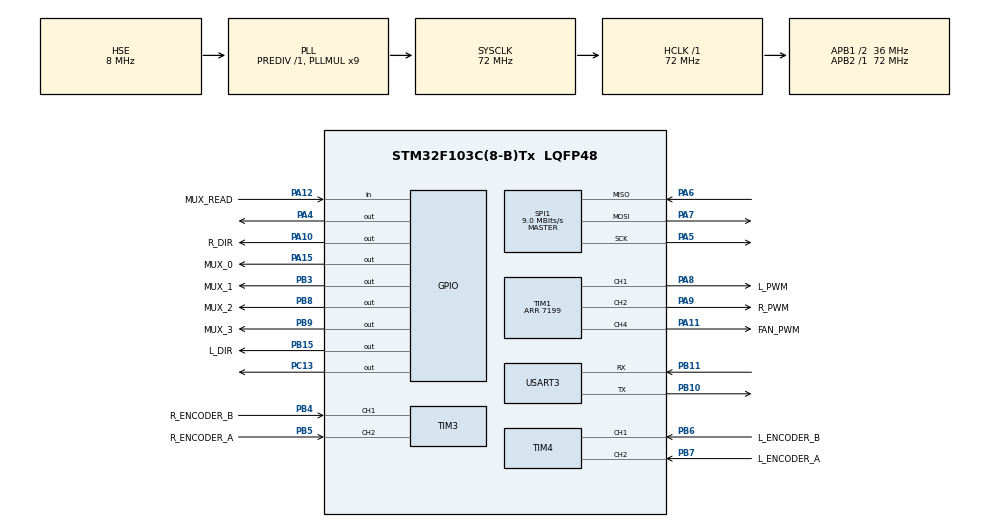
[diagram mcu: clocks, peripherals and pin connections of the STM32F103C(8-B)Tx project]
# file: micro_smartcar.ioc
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Dma.Request0=SPI1_RX
Dma.Request1=SPI1_TX
Dma.SPI1_RX.0.Direction=DMA_PERIPH_TO_MEMORY
Dma.SPI1_RX.0.Instance=DMA1_Channel2
Dma.SPI1_RX.0.MemDataAlignment=DMA_MDATAALIGN_BYTE
Dma.SPI1_RX.0.MemInc=DMA_MINC_ENABLE
Dma.SPI1_RX.0.Mode=DMA_NORMAL
Dma.SPI1_RX.0.PeriphDataAlignment=DMA_PDATAALIGN_BYTE
Dma.SPI1_RX.0.PeriphInc=DMA_PINC_DISABLE
Dma.SPI1_RX.0.Priority=DMA_PRIORITY_LOW
Dma.SPI1_TX.1.Direction=DMA_MEMORY_TO_PERIPH
Dma.SPI1_TX.1.Instance=DMA1_Channel3
Dma.SPI1_TX.1.MemDataAlignment=DMA_MDATAALIGN_BYTE
Dma.SPI1_TX.1.MemInc=DMA_MINC_ENABLE
Dma.SPI1_TX.1.Mode=DMA_NORMAL
Dma.SPI1_TX.1.PeriphDataAlignment=DMA_PDATAALIGN_BYTE
Dma.SPI1_TX.1.PeriphInc=DMA_PINC_DISABLE
Dma.SPI1_TX.1.Priority=DMA_PRIORITY_LOW
Mcu.Family=STM32F1
Mcu.Name=STM32F103C(8-B)Tx
Mcu.Package=LQFP48
NVIC.DMA1_Channel2_IRQn=true\:0\:0\:false\:false\:true\:false\:true\:true
NVIC.DMA1_Channel3_IRQn=true\:0\:0\:false\:false\:true\:false\:true\:true
NVIC.PriorityGroup=NVIC_PRIORITYGROUP_4
NVIC.RCC_IRQn=true\:0\:0\:false\:false\:true\:true\:false\:true
NVIC.SPI1_IRQn=true\:0\:0\:false\:false\:true\:true\:true\:true
NVIC.TIM2_IRQn=true\:1\:0\:true\:false\:true\:true\:true\:true
NVIC.TIM3_IRQn=true\:0\:0\:false\:false\:true\:true\:true\:true
NVIC.TIM4_IRQn=true\:0\:0\:false\:false\:true\:true\:true\:true
NVIC.USART3_IRQn=true\:0\:0\:false\:false\:true\:true\:true\:true
PA10.GPIO_Label=R_DIR
PA10.Signal=GPIO_Output
PA11.GPIO_Label=FAN_PWM
PA11.Signal=S_TIM1_CH4
PA12.GPIO_Label=MUX_READ
PA12.Signal=GPIO_Input
PA13.Mode=Serial_Wire
PA13.Signal=SYS_JTMS-SWDIO
PA14.Mode=Serial_Wire
PA14.Signal=SYS_JTCK-SWCLK
PA15.GPIO_Label=MUX_0
PA15.GPIO_Speed=GPIO_SPEED_FREQ_MEDIUM
PA15.Signal=GPIO_Output
PA4.GPIO_PuPd=GPIO_NOPULL
PA4.GPIO_Speed=GPIO_SPEED_FREQ_HIGH
PA4.Signal=GPIO_Output
PA5.Mode=Full_Duplex_Master
PA5.Signal=SPI1_SCK
PA6.Mode=Full_Duplex_Master
PA6.Signal=SPI1_MISO
PA7.Mode=Full_Duplex_Master
PA7.Signal=SPI1_MOSI
PA8.GPIO_Label=L_PWM
PA8.Signal=S_TIM1_CH1
PA9.GPIO_Label=R_PWM
PA9.Signal=S_TIM1_CH2
PB10.Mode=Asynchronous
PB10.Signal=USART3_TX
PB11.Mode=Asynchronous
PB11.Signal=USART3_RX
PB15.GPIO_Label=L_DIR
PB15.Signal=GPIO_Output
PB3.GPIO_Label=MUX_1
PB3.GPIO_Speed=GPIO_SPEED_FREQ_MEDIUM
PB3.Signal=GPIO_Output
PB4.GPIO_Label=R_ENCODER_B
PB4.Signal=S_TIM3_CH1
PB5.GPIO_Label=R_ENCODER_A
PB5.Signal=S_TIM3_CH2
PB6.GPIO_Label=L_ENCODER_B
PB6.Signal=S_TIM4_CH1
PB7.GPIO_Label=L_ENCODER_A
PB7.Signal=S_TIM4_CH2
PB8.GPIO_Label=MUX_2
PB8.GPIO_Speed=GPIO_SPEED_FREQ_MEDIUM
PB8.Signal=GPIO_Output
PB9.GPIO_Label=MUX_3
PB9.GPIO_Speed=GPIO_SPEED_FREQ_MEDIUM
PB9.Signal=GPIO_Output
PC13-TAMPER-RTC.GPIO_ModeDefaultOutputPP=GPIO_MODE_OUTPUT_OD
PC13-TAMPER-RTC.GPIO_PuPd=GPIO_NOPULL
PC13-TAMPER-RTC.Signal=GPIO_Output
PD0-OSC_IN.Mode=HSE-External-Oscillator
PD0-OSC_IN.Signal=RCC_OSC_IN
PD1-OSC_OUT.Mode=HSE-External-Oscillator
PD1-OSC_OUT.Signal=RCC_OSC_OUT
ProjectManager.HeapSize=0x200
ProjectManager.StackSize=0x400
ProjectManager.TargetToolchain=MDK-ARM V5.32
RCC.AHBFreq_Value=72000000
RCC.APB1CLKDivider=RCC_HCLK_DIV2
RCC.APB1Freq_Value=36000000
RCC.APB1TimFreq_Value=72000000
RCC.APB2Freq_Value=72000000
RCC.APB2TimFreq_Value=72000000
RCC.HCLKFreq_Value=72000000
RCC.PLLMUL=RCC_PLL_MUL9
RCC.PLLSourceVirtual=RCC_PLLSOURCE_HSE
RCC.SYSCLKFreq_VALUE=72000000
RCC.SYSCLKSource=RCC_SYSCLKSOURCE_PLLCLK
RCC.USBFreq_Value=72000000
SH.S_TIM1_CH1.0=TIM1_CH1,PWM Generation1 CH1
SH.S_TIM1_CH2.0=TIM1_CH2,PWM Generation2 CH2
SH.S_TIM1_CH4.0=TIM1_CH4,PWM Generation4 CH4
SH.S_TIM3_CH1.0=TIM3_CH1,Encoder_Interface
SH.S_TIM3_CH2.0=TIM3_CH2,Encoder_Interface
SH.S_TIM4_CH1.0=TIM4_CH1,Encoder_Interface
SH.S_TIM4_CH2.0=TIM4_CH2,Encoder_Interface
SPI1.BaudRatePrescaler=SPI_BAUDRATEPRESCALER_8
SPI1.CalculateBaudRate=9.0 MBits/s
SPI1.Direction=SPI_DIRECTION_2LINES
SPI1.Mode=SPI_MODE_MASTER
SPI1.VirtualType=VM_MASTER
TIM1.Channel-PWM\ Generation1\ CH1=TIM_CHANNEL_1
TIM1.Channel-PWM\ Generation2\ CH2=TIM_CHANNEL_2
TIM1.Channel-PWM\ Generation4\ CH4=TIM_CHANNEL_4
TIM1.Period=7199
TIM2.Period=4999
TIM2.Prescaler=71
TIM3.EncoderMode=TIM_ENCODERMODE_TI12
TIM4.EncoderMode=TIM_ENCODERMODE_TI12
USART3.VirtualMode=VM_ASYNC
VP_TIM1_VS_ClockSourceINT.Mode=Internal
VP_TIM2_VS_ClockSourceINT.Mode=Internal
board=custom

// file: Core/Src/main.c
/* USER CODE BEGIN Header */
/**
  ******************************************************************************
  * @file           : main.c
  * @brief          : Main program body
  ******************************************************************************
  * @attention
  *
  * Copyright (c) 2025 STMicroelectronics.
  * All rights reserved.
  *
  * This software is licensed under terms that can be found in the LICENSE file
  * in the root directory of this software component.
  * If no LICENSE file comes with this software, it is provided AS-IS.
  *
  ******************************************************************************
  */
/* USER CODE END Header */
#include "main.h"

/* USER CODE BEGIN Includes */
#include "dodo_BMI270.h" //螺仪驱动
#include "multiplexer.h"//多路复用器驱动，用于读取光电管
#include "stdio.h"
#include "motor_control.h"
#include "my_math.h"
/* USER CODE END Includes */

/* USER CODE BEGIN PTD */
#define Control_Frequency 1000
#define Print_Frequency	1
/* USER CODE END PTD */

SPI_HandleTypeDef hspi1;
DMA_HandleTypeDef hdma_spi1_rx;
DMA_HandleTypeDef hdma_spi1_tx;

TIM_HandleTypeDef htim1;
TIM_HandleTypeDef htim2;
TIM_HandleTypeDef htim3;
TIM_HandleTypeDef htim4;

UART_HandleTypeDef huart3;

/* USER CODE BEGIN PV */
uint16_t mux_value;

float gyro_z;
float left_encoder_speed;
float right_encoder_speed;
uint8_t control_flag = 0;
uint8_t print_flag = 0;
/* USER CODE END PV */

void SystemClock_Config(void);
static void MX_GPIO_Init(void);
static void MX_DMA_Init(void);
static void MX_SPI1_Init(void);
static void MX_TIM1_Init(void);
static void MX_TIM2_Init(void);
static void MX_TIM3_Init(void);
static void MX_USART3_UART_Init(void);
static void MX_TIM4_Init(void);

/* USER CODE BEGIN 0 */

int fputc(int ch, FILE *f){
  HAL_UART_Transmit(&huart3, (uint8_t *)&ch, 1, 0xffff);
  return ch;
}

// @brief 更新状态数据
void UpdataData(void){

	MUX_get_value(&mux_value);
	// 读取陿螺仪数据
	dodo_BMI270_get_data();
	gyro_z = BMI270_gyro_transition(BMI270_gyro_z);
	// 读取编码器鿟度
	left_encoder_speed = (int16_t)__HAL_TIM_GET_COUNTER(&htim4) * 5;
	__HAL_TIM_SET_COUNTER(&htim4, 0);
	right_encoder_speed = -1 * (int16_t)__HAL_TIM_GET_COUNTER(&htim3) * 5;
	__HAL_TIM_SET_COUNTER(&htim3, 0);
}

// @brief 测试函数······计算执行一次循环的时间
void CeShi(void)
{
	clock(CLOCK_START);
	UpdataData();
	parallel_pid_control(mux_value, gyro_z, left_encoder_speed, right_encoder_speed);
	clock(CLOCK_STOP);
}

// @brief 控制时钟中断
void HAL_TIM_PeriodElapsedCallback(TIM_HandleTypeDef *htim){
	static uint16_t times = 0;
	if (htim == &htim2) {
		times++;
		control_flag = 1;
		if(times >= Control_Frequency / Print_Frequency){
			times = 0;
			print_flag = 1;
		}
	}
}
/* USER CODE END 0 */

int main(void)
{

  /* MCU Configuration--------------------------------------------------------*/

  /* Reset of all peripherals, Initializes the Flash interface and the Systick. */
  HAL_Init();

  /* Configure the system clock */
  SystemClock_Config();

  /* Initialize all configured peripherals */
  MX_GPIO_Init();
  MX_DMA_Init();
  MX_SPI1_Init();
  MX_TIM1_Init();
  MX_TIM2_Init();
  MX_TIM3_Init();
  MX_USART3_UART_Init();
  MX_TIM4_Init();
  /* USER CODE BEGIN 2 */
	dodo_BMI270_init();//初始化陀螺仪
	HAL_TIM_Encoder_Start(&htim3, TIM_CHANNEL_ALL);
	HAL_TIM_Encoder_Start(&htim4, TIM_CHANNEL_ALL);
	HAL_TIM_PWM_Start(&htim1, TIM_CHANNEL_1);
	HAL_TIM_PWM_Start(&htim1, TIM_CHANNEL_2);
  /* USER CODE END 2 */
  /* Infinite loop */
  /* USER CODE BEGIN WHILE */
    HAL_Delay(500);
	TIM2->ARR = 1000000 / Control_Frequency - 1;
	  motor_Init();
	  clock_Init();
//	HAL_TIM_Base_Start_IT(&htim2);
    CeShi();
  while (1)
  {
    /* USER CODE END WHILE */

		if(control_flag){
			control_flag = 0;
			UpdataData();
			parallel_pid_control(mux_value, gyro_z, left_encoder_speed, right_encoder_speed);
		}

		if(print_flag){
			print_flag = 0;
			if(flag==1){
			//	printf("a");
			}
		}
  }
}

void SystemClock_Config(void)
{
  RCC_OscInitTypeDef RCC_OscInitStruct = {0};
  RCC_ClkInitTypeDef RCC_ClkInitStruct = {0};

  /** Initializes the RCC Oscillators according to the specified parameters
  * in the RCC_OscInitTypeDef structure.
  */
  RCC_OscInitStruct.OscillatorType = RCC_OSCILLATORTYPE_HSE;
  RCC_OscInitStruct.HSEState = RCC_HSE_ON;
  RCC_OscInitStruct.HSEPredivValue = RCC_HSE_PREDIV_DIV1;
  RCC_OscInitStruct.HSIState = RCC_HSI_ON;
  RCC_OscInitStruct.PLL.PLLState = RCC_PLL_ON;
  RCC_OscInitStruct.PLL.PLLSource = RCC_PLLSOURCE_HSE;
  RCC_OscInitStruct.PLL.PLLMUL = RCC_PLL_MUL9;
  if (HAL_RCC_OscConfig(&RCC_OscInitStruct) != HAL_OK)
  {
    Error_Handler();
  }

  /** Initializes the CPU, AHB and APB buses clocks
  */
  RCC_ClkInitStruct.ClockType = RCC_CLOCKTYPE_HCLK|RCC_CLOCKTYPE_SYSCLK
                              |RCC_CLOCKTYPE_PCLK1|RCC_CLOCKTYPE_PCLK2;
  RCC_ClkInitStruct.SYSCLKSource = RCC_SYSCLKSOURCE_PLLCLK;
  RCC_ClkInitStruct.AHBCLKDivider = RCC_SYSCLK_DIV1;
  RCC_ClkInitStruct.APB1CLKDivider = RCC_HCLK_DIV2;
  RCC_ClkInitStruct.APB2CLKDivider = RCC_HCLK_DIV1;

  if (HAL_RCC_ClockConfig(&RCC_ClkInitStruct, FLASH_LATENCY_2) != HAL_OK)
  {
    Error_Handler();
  }
}

static void MX_SPI1_Init(void)
{

  /* SPI1 parameter configuration*/
  hspi1.Instance = SPI1;
  hspi1.Init.Mode = SPI_MODE_MASTER;
  hspi1.Init.Direction = SPI_DIRECTION_2LINES;
  hspi1.Init.DataSize = SPI_DATASIZE_8BIT;
  hspi1.Init.CLKPolarity = SPI_POLARITY_LOW;
  hspi1.Init.CLKPhase = SPI_PHASE_1EDGE;
  hspi1.Init.NSS = SPI_NSS_SOFT;
  hspi1.Init.BaudRatePrescaler = SPI_BAUDRATEPRESCALER_8;
  hspi1.Init.FirstBit = SPI_FIRSTBIT_MSB;
  hspi1.Init.TIMode = SPI_TIMODE_DISABLE;
  hspi1.Init.CRCCalculation = SPI_CRCCALCULATION_DISABLE;
  hspi1.Init.CRCPolynomial = 10;
  if (HAL_SPI_Init(&hspi1) != HAL_OK)
  {
    Error_Handler();
  }

}

static void MX_TIM1_Init(void)
{

  TIM_ClockConfigTypeDef sClockSourceConfig = {0};
  TIM_MasterConfigTypeDef sMasterConfig = {0};
  TIM_OC_InitTypeDef sConfigOC = {0};
  TIM_BreakDeadTimeConfigTypeDef sBreakDeadTimeConfig = {0};

  htim1.Instance = TIM1;
  htim1.Init.Prescaler = 0;
  htim1.Init.CounterMode = TIM_COUNTERMODE_UP;
  htim1.Init.Period = 7199;
  htim1.Init.ClockDivision = TIM_CLOCKDIVISION_DIV1;
  htim1.Init.RepetitionCounter = 0;
  htim1.Init.AutoReloadPreload = TIM_AUTORELOAD_PRELOAD_DISABLE;
  if (HAL_TIM_Base_Init(&htim1) != HAL_OK)
  {
    Error_Handler();
  }
  sClockSourceConfig.ClockSource = TIM_CLOCKSOURCE_INTERNAL;
  if (HAL_TIM_ConfigClockSource(&htim1, &sClockSourceConfig) != HAL_OK)
  {
    Error_Handler();
  }
  if (HAL_TIM_PWM_Init(&htim1) != HAL_OK)
  {
    Error_Handler();
  }
  sMasterConfig.MasterOutputTrigger = TIM_TRGO_RESET;
  sMasterConfig.MasterSlaveMode = TIM_MASTERSLAVEMODE_DISABLE;
  if (HAL_TIMEx_MasterConfigSynchronization(&htim1, &sMasterConfig) != HAL_OK)
  {
    Error_Handler();
  }
  sConfigOC.OCMode = TIM_OCMODE_PWM1;
  sConfigOC.Pulse = 0;
  sConfigOC.OCPolarity = TIM_OCPOLARITY_HIGH;
  sConfigOC.OCNPolarity = TIM_OCNPOLARITY_HIGH;
  sConfigOC.OCFastMode = TIM_OCFAST_DISABLE;
  sConfigOC.OCIdleState = TIM_OCIDLESTATE_RESET;
  sConfigOC.OCNIdleState = TIM_OCNIDLESTATE_RESET;
  if (HAL_TIM_PWM_ConfigChannel(&htim1, &sConfigOC, TIM_CHANNEL_1) != HAL_OK)
  {
    Error_Handler();
  }
  if (HAL_TIM_PWM_ConfigChannel(&htim1, &sConfigOC, TIM_CHANNEL_2) != HAL_OK)
  {
    Error_Handler();
  }
  if (HAL_TIM_PWM_ConfigChannel(&htim1, &sConfigOC, TIM_CHANNEL_4) != HAL_OK)
  {
    Error_Handler();
  }
  sBreakDeadTimeConfig.OffStateRunMode = TIM_OSSR_DISABLE;
  sBreakDeadTimeConfig.OffStateIDLEMode = TIM_OSSI_DISABLE;
  sBreakDeadTimeConfig.LockLevel = TIM_LOCKLEVEL_OFF;
  sBreakDeadTimeConfig.DeadTime = 0;
  sBreakDeadTimeConfig.BreakState = TIM_BREAK_DISABLE;
  sBreakDeadTimeConfig.BreakPolarity = TIM_BREAKPOLARITY_HIGH;
  sBreakDeadTimeConfig.AutomaticOutput = TIM_AUTOMATICOUTPUT_DISABLE;
  if (HAL_TIMEx_ConfigBreakDeadTime(&htim1, &sBreakDeadTimeConfig) != HAL_OK)
  {
    Error_Handler();
  }
  HAL_TIM_MspPostInit(&htim1);

}

static void MX_TIM2_Init(void)
{

  TIM_ClockConfigTypeDef sClockSourceConfig = {0};
  TIM_MasterConfigTypeDef sMasterConfig = {0};

  htim2.Instance = TIM2;
  htim2.Init.Prescaler = 71;
  htim2.Init.CounterMode = TIM_COUNTERMODE_UP;
  htim2.Init.Period = 4999;
  htim2.Init.ClockDivision = TIM_CLOCKDIVISION_DIV1;
  htim2.Init.AutoReloadPreload = TIM_AUTORELOAD_PRELOAD_DISABLE;
  if (HAL_TIM_Base_Init(&htim2) != HAL_OK)
  {
    Error_Handler();
  }
  sClockSourceConfig.ClockSource = TIM_CLOCKSOURCE_INTERNAL;
  if (HAL_TIM_ConfigClockSource(&htim2, &sClockSourceConfig) != HAL_OK)
  {
    Error_Handler();
  }
  sMasterConfig.MasterOutputTrigger = TIM_TRGO_RESET;
  sMasterConfig.MasterSlaveMode = TIM_MASTERSLAVEMODE_DISABLE;
  if (HAL_TIMEx_MasterConfigSynchronization(&htim2, &sMasterConfig) != HAL_OK)
  {
    Error_Handler();
  }

}

static void MX_TIM3_Init(void)
{

  TIM_Encoder_InitTypeDef sConfig = {0};
  TIM_MasterConfigTypeDef sMasterConfig = {0};

  htim3.Instance = TIM3;
  htim3.Init.Prescaler = 0;
  htim3.Init.CounterMode = TIM_COUNTERMODE_UP;
  htim3.Init.Period = 65535;
  htim3.Init.ClockDivision = TIM_CLOCKDIVISION_DIV1;
  htim3.Init.AutoReloadPreload = TIM_AUTORELOAD_PRELOAD_DISABLE;
  sConfig.EncoderMode = TIM_ENCODERMODE_TI12;
  sConfig.IC1Polarity = TIM_ICPOLARITY_RISING;
  sConfig.IC1Selection = TIM_ICSELECTION_DIRECTTI;
  sConfig.IC1Prescaler = TIM_ICPSC_DIV1;
  sConfig.IC1Filter = 0;
  sConfig.IC2Polarity = TIM_ICPOLARITY_RISING;
  sConfig.IC2Selection = TIM_ICSELECTION_DIRECTTI;
  sConfig.IC2Prescaler = TIM_ICPSC_DIV1;
  sConfig.IC2Filter = 0;
  if (HAL_TIM_Encoder_Init(&htim3, &sConfig) != HAL_OK)
  {
    Error_Handler();
  }
  sMasterConfig.MasterOutputTrigger = TIM_TRGO_RESET;
  sMasterConfig.MasterSlaveMode = TIM_MASTERSLAVEMODE_DISABLE;
  if (HAL_TIMEx_MasterConfigSynchronization(&htim3, &sMasterConfig) != HAL_OK)
  {
    Error_Handler();
  }

}

static void MX_TIM4_Init(void)
{

  TIM_Encoder_InitTypeDef sConfig = {0};
  TIM_MasterConfigTypeDef sMasterConfig = {0};

  htim4.Instance = TIM4;
  htim4.Init.Prescaler = 0;
  htim4.Init.CounterMode = TIM_COUNTERMODE_UP;
  htim4.Init.Period = 65535;
  htim4.Init.ClockDivision = TIM_CLOCKDIVISION_DIV1;
  htim4.Init.AutoReloadPreload = TIM_AUTORELOAD_PRELOAD_DISABLE;
  sConfig.EncoderMode = TIM_ENCODERMODE_TI12;
  sConfig.IC1Polarity = TIM_ICPOLARITY_RISING;
  sConfig.IC1Selection = TIM_ICSELECTION_DIRECTTI;
  sConfig.IC1Prescaler = TIM_ICPSC_DIV1;
  sConfig.IC1Filter = 0;
  sConfig.IC2Polarity = TIM_ICPOLARITY_RISING;
  sConfig.IC2Selection = TIM_ICSELECTION_DIRECTTI;
  sConfig.IC2Prescaler = TIM_ICPSC_DIV1;
  sConfig.IC2Filter = 0;
  if (HAL_TIM_Encoder_Init(&htim4, &sConfig) != HAL_OK)
  {
    Error_Handler();
  }
  sMasterConfig.MasterOutputTrigger = TIM_TRGO_RESET;
  sMasterConfig.MasterSlaveMode = TIM_MASTERSLAVEMODE_DISABLE;
  if (HAL_TIMEx_MasterConfigSynchronization(&htim4, &sMasterConfig) != HAL_OK)
  {
    Error_Handler();
  }

}

static void MX_USART3_UART_Init(void)
{

  huart3.Instance = USART3;
  huart3.Init.BaudRate = 115200;
  huart3.Init.WordLength = UART_WORDLENGTH_8B;
  huart3.Init.StopBits = UART_STOPBITS_1;
  huart3.Init.Parity = UART_PARITY_NONE;
  huart3.Init.Mode = UART_MODE_TX_RX;
  huart3.Init.HwFlowCtl = UART_HWCONTROL_NONE;
  huart3.Init.OverSampling = UART_OVERSAMPLING_16;
  if (HAL_UART_Init(&huart3) != HAL_OK)
  {
    Error_Handler();
  }

}

static void MX_DMA_Init(void)
{

  /* DMA controller clock enable */
  __HAL_RCC_DMA1_CLK_ENABLE();

  /* DMA interrupt init */
  /* DMA1_Channel2_IRQn interrupt configuration */
  HAL_NVIC_SetPriority(DMA1_Channel2_IRQn, 0, 0);
  HAL_NVIC_EnableIRQ(DMA1_Channel2_IRQn);
  /* DMA1_Channel3_IRQn interrupt configuration */
  HAL_NVIC_SetPriority(DMA1_Channel3_IRQn, 0, 0);
  HAL_NVIC_EnableIRQ(DMA1_Channel3_IRQn);

}

static void MX_GPIO_Init(void)
{
  GPIO_InitTypeDef GPIO_InitStruct = {0};

  /* GPIO Ports Clock Enable */
  __HAL_RCC_GPIOC_CLK_ENABLE();
  __HAL_RCC_GPIOD_CLK_ENABLE();
  __HAL_RCC_GPIOA_CLK_ENABLE();
  __HAL_RCC_GPIOB_CLK_ENABLE();

  /*Configure GPIO pin Output Level */
  HAL_GPIO_WritePin(GPIOC, GPIO_PIN_13, GPIO_PIN_RESET);

  /*Configure GPIO pin Output Level */
  HAL_GPIO_WritePin(GPIOA, GPIO_PIN_4|R_DIR_Pin|MUX_0_Pin, GPIO_PIN_RESET);

  /*Configure GPIO pin Output Level */
  HAL_GPIO_WritePin(GPIOB, L_DIR_Pin|MUX_1_Pin|MUX_2_Pin|MUX_3_Pin, GPIO_PIN_RESET);

  /*Configure GPIO pin : PC13 */
  GPIO_InitStruct.Pin = GPIO_PIN_13;
  GPIO_InitStruct.Mode = GPIO_MODE_OUTPUT_OD;
  GPIO_InitStruct.Pull = GPIO_NOPULL;
  GPIO_InitStruct.Speed = GPIO_SPEED_FREQ_LOW;
  HAL_GPIO_Init(GPIOC, &GPIO_InitStruct);

  /*Configure GPIO pin : PA4 */
  GPIO_InitStruct.Pin = GPIO_PIN_4;
  GPIO_InitStruct.Mode = GPIO_MODE_OUTPUT_PP;
  GPIO_InitStruct.Pull = GPIO_NOPULL;
  GPIO_InitStruct.Speed = GPIO_SPEED_FREQ_HIGH;
  HAL_GPIO_Init(GPIOA, &GPIO_InitStruct);

  /*Configure GPIO pin : L_DIR_Pin */
  GPIO_InitStruct.Pin = L_DIR_Pin;
  GPIO_InitStruct.Mode = GPIO_MODE_OUTPUT_PP;
  GPIO_InitStruct.Pull = GPIO_NOPULL;
  GPIO_InitStruct.Speed = GPIO_SPEED_FREQ_LOW;
  HAL_GPIO_Init(L_DIR_GPIO_Port, &GPIO_InitStruct);

  /*Configure GPIO pin : R_DIR_Pin */
  GPIO_InitStruct.Pin = R_DIR_Pin;
  GPIO_InitStruct.Mode = GPIO_MODE_OUTPUT_PP;
  GPIO_InitStruct.Pull = GPIO_NOPULL;
  GPIO_InitStruct.Speed = GPIO_SPEED_FREQ_LOW;
  HAL_GPIO_Init(R_DIR_GPIO_Port, &GPIO_InitStruct);

  /*Configure GPIO pin : MUX_READ_Pin */
  GPIO_InitStruct.Pin = MUX_READ_Pin;
  GPIO_InitStruct.Mode = GPIO_MODE_INPUT;
  GPIO_InitStruct.Pull = GPIO_NOPULL;
  HAL_GPIO_Init(MUX_READ_GPIO_Port, &GPIO_InitStruct);

  /*Configure GPIO pin : MUX_0_Pin */
  GPIO_InitStruct.Pin = MUX_0_Pin;
  GPIO_InitStruct.Mode = GPIO_MODE_OUTPUT_PP;
  GPIO_InitStruct.Pull = GPIO_NOPULL;
  GPIO_InitStruct.Speed = GPIO_SPEED_FREQ_MEDIUM;
  HAL_GPIO_Init(MUX_0_GPIO_Port, &GPIO_InitStruct);

  /*Configure GPIO pins : MUX_1_Pin MUX_2_Pin MUX_3_Pin */
  GPIO_InitStruct.Pin = MUX_1_Pin|MUX_2_Pin|MUX_3_Pin;
  GPIO_InitStruct.Mode = GPIO_MODE_OUTPUT_PP;
  GPIO_InitStruct.Pull = GPIO_NOPULL;
  GPIO_InitStruct.Speed = GPIO_SPEED_FREQ_MEDIUM;
  HAL_GPIO_Init(GPIOB, &GPIO_InitStruct);

}

void Error_Handler(void)
{
  __disable_irq();
  while (1)
  {
  }
}
